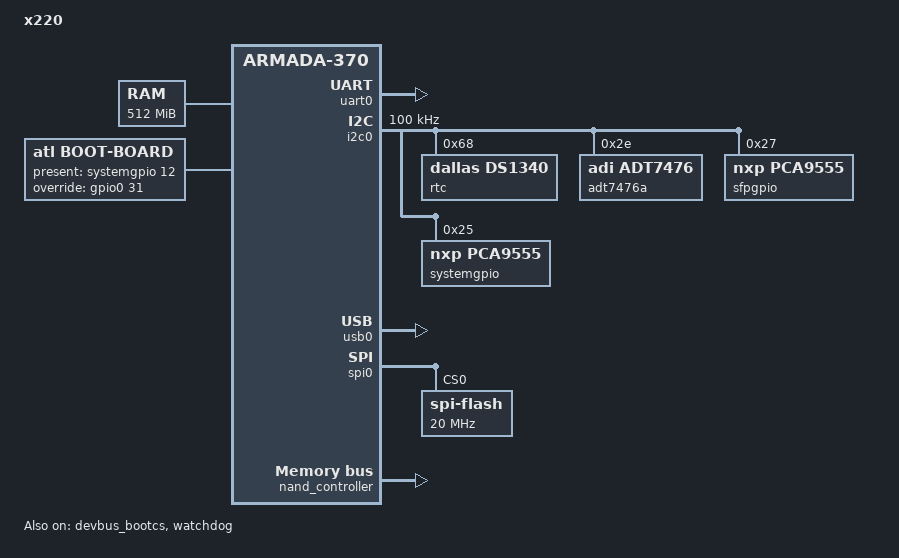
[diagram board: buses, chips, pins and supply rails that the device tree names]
// SPDX-License-Identifier: (GPL-2.0+ OR MIT)
/*
 * Device Tree file for x220 board
 *
 * Copyright (C) 2025 Allied Telesis Labs
 */

/dts-v1/;
#include <dt-bindings/gpio/gpio.h>
#include "armada-xp-98dx3236.dtsi"
#include "mvebu-u-boot.dtsi"

/ {
	model = "x220";
	compatible = "marvell,armadaxp-98dx3236", "marvell,armadaxp-mv78260",
		     "marvell,armadaxp", "marvell,armada-370-xp";

	chosen {
		stdout-path = "serial0:115200n8";
		bootargs = "console=ttyS0,115200";
	};

	aliases {
		i2c0 = &i2c0;
		spi0 = &spi0;
	};

	memory {
		device_type = "memory";
		reg = <0x00000000 0x00000000 0x00000000 0x20000000>;
	};
};

&L2 {
	arm,parity-enable;
	marvell,ecc-enable;
};

&devbus_bootcs {
	status = "okay";

	/* Device Bus parameters are required */

	/* Read parameters */
	devbus,bus-width    = <16>;
	devbus,turn-off-ps  = <60000>;
	devbus,badr-skew-ps = <0>;
	devbus,acc-first-ps = <124000>;
	devbus,acc-next-ps  = <248000>;
	devbus,rd-setup-ps  = <0>;
	devbus,rd-hold-ps   = <0>;

	/* Write parameters */
	devbus,sync-enable = <0>;
	devbus,wr-high-ps  = <60000>;
	devbus,wr-low-ps   = <60000>;
	devbus,ale-wr-ps   = <60000>;
};

&uart0 {
	status = "okay";
};

&i2c0 {
	clock-frequency = <100000>;
	status = "okay";

	rtc@68 {
		compatible = "dallas,ds1340";
		reg = <0x68>;
	};

	adt7476a@2e {
		compatible = "adi,adt7476";
		reg = <0x2e>;
	};

	sfpgpio: gpio@27 {
		#address-cells = <2>;
		#size-cells = <0>;
		compatible = "nxp,pca9555";
		reg = <0x27>;
		gpio-controller;
		#gpio-cells = <2>;
	};

	systemgpio: gpio@25 {
		#address-cells = <1>;
		#size-cells = <0>;
		compatible = "nxp,pca9555";
		reg = <0x25>;
		gpio-controller;
		#gpio-cells = <2>;

		nand-protect {
			gpio-hog;
			gpios = <6 GPIO_ACTIVE_HIGH>;
			output-high;
			line-name = "nand-protect";
		};

		usb-enable {
			gpio-hog;
			gpios = <9 GPIO_ACTIVE_HIGH>;
			output-high;
			line-name = "usb-enable";
		};

		phy-reset {
			gpio-hog;
			gpios = <5 GPIO_ACTIVE_LOW>;
			output-high;
			line-name = "phy-reset";
		};

		led-enable {
			gpio-hog;
			gpios = <13 GPIO_ACTIVE_HIGH>;
			output-low;
			line-name = "led-enable";
		};
	};
};

&watchdog {
	status = "okay";
};

&usb0 {
	status = "okay";
};

&spi0 {
	status = "okay";

	spi-flash@0 {
		#address-cells = <1>;
		#size-cells = <1>;
		compatible = "spi-flash", "jedec,spi-nor";
		reg = <0>; /* Chip select 0 */
		spi-max-frequency = <20000000>;
	};
};

&nand_controller {
	compatible = "marvell,armada370-nand-controller";
	label = "pxa3xx_nand-0";
	status = "okay";
	nand-rb = <0>;
	nand-on-flash-bbt;
	nand-ecc-strength = <4>;
	nand-ecc-step-size = <512>;
};

&{/} {
	boot-board {
		compatible = "atl,boot-board";
		present-gpio = <&systemgpio 12 GPIO_ACTIVE_HIGH>;
		override-gpio = <&gpio0 31 GPIO_ACTIVE_HIGH>;
	};
};

